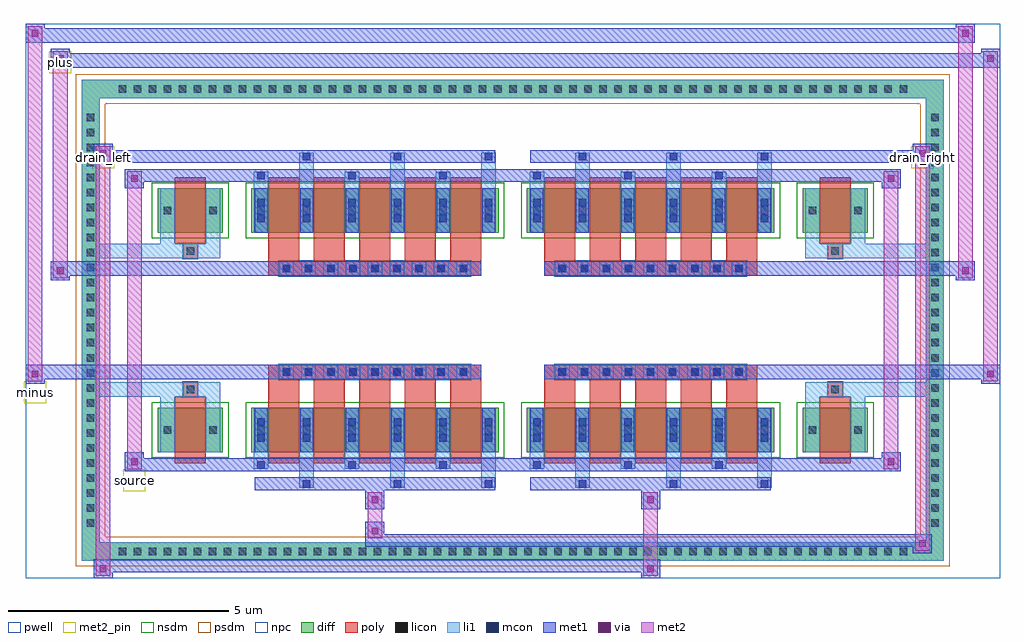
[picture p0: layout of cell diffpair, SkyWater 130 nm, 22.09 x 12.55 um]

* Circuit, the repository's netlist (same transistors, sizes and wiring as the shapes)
* NGSPICE file created from diffpair.ext - technology: sky130A

.subckt diffpair minus drain_right drain_left source plus
X0 drain_left plus source a_n1952_n1088# sky130_fd_pr__nfet_01v8 ad=0.165 pd=1.33 as=0.165 ps=1.33 w=1 l=0.7
X1 source minus drain_right a_n1952_n1088# sky130_fd_pr__nfet_01v8 ad=0.165 pd=1.33 as=0.165 ps=1.33 w=1 l=0.7
X2 a_n1952_n1088# a_n1952_n1088# a_n1952_n1088# a_n1952_n1088# sky130_fd_pr__nfet_01v8 ad=0.39 pd=2.78 as=3.12 ps=22.24 w=1 l=0.7
X3 drain_left plus source a_n1952_n1088# sky130_fd_pr__nfet_01v8 ad=0.165 pd=1.33 as=0.39 ps=2.78 w=1 l=0.7
X4 drain_left plus source a_n1952_n1088# sky130_fd_pr__nfet_01v8 ad=0.39 pd=2.78 as=0.165 ps=1.33 w=1 l=0.7
X5 source minus drain_right a_n1952_n1088# sky130_fd_pr__nfet_01v8 ad=0.165 pd=1.33 as=0.165 ps=1.33 w=1 l=0.7
X6 drain_right minus source a_n1952_n1088# sky130_fd_pr__nfet_01v8 ad=0.39 pd=2.78 as=0.165 ps=1.33 w=1 l=0.7
X7 drain_right minus source a_n1952_n1088# sky130_fd_pr__nfet_01v8 ad=0.39 pd=2.78 as=0.165 ps=1.33 w=1 l=0.7
X8 source minus drain_right a_n1952_n1088# sky130_fd_pr__nfet_01v8 ad=0.165 pd=1.33 as=0.165 ps=1.33 w=1 l=0.7
X9 a_n1952_n1088# a_n1952_n1088# a_n1952_n1088# a_n1952_n1088# sky130_fd_pr__nfet_01v8 ad=0.39 pd=2.78 as=0 ps=0 w=1 l=0.7
X10 drain_right minus source a_n1952_n1088# sky130_fd_pr__nfet_01v8 ad=0.165 pd=1.33 as=0.165 ps=1.33 w=1 l=0.7
X11 drain_right minus source a_n1952_n1088# sky130_fd_pr__nfet_01v8 ad=0.165 pd=1.33 as=0.39 ps=2.78 w=1 l=0.7
X12 source plus drain_left a_n1952_n1088# sky130_fd_pr__nfet_01v8 ad=0.165 pd=1.33 as=0.165 ps=1.33 w=1 l=0.7
X13 drain_right minus source a_n1952_n1088# sky130_fd_pr__nfet_01v8 ad=0.165 pd=1.33 as=0.165 ps=1.33 w=1 l=0.7
X14 drain_left plus source a_n1952_n1088# sky130_fd_pr__nfet_01v8 ad=0.165 pd=1.33 as=0.39 ps=2.78 w=1 l=0.7
X15 source plus drain_left a_n1952_n1088# sky130_fd_pr__nfet_01v8 ad=0.165 pd=1.33 as=0.165 ps=1.33 w=1 l=0.7
X16 a_n1952_n1088# a_n1952_n1088# a_n1952_n1088# a_n1952_n1088# sky130_fd_pr__nfet_01v8 ad=0.39 pd=2.78 as=0 ps=0 w=1 l=0.7
X17 drain_right minus source a_n1952_n1088# sky130_fd_pr__nfet_01v8 ad=0.165 pd=1.33 as=0.39 ps=2.78 w=1 l=0.7
X18 source plus drain_left a_n1952_n1088# sky130_fd_pr__nfet_01v8 ad=0.165 pd=1.33 as=0.165 ps=1.33 w=1 l=0.7
X19 drain_left plus source a_n1952_n1088# sky130_fd_pr__nfet_01v8 ad=0.165 pd=1.33 as=0.165 ps=1.33 w=1 l=0.7
X20 a_n1952_n1088# a_n1952_n1088# a_n1952_n1088# a_n1952_n1088# sky130_fd_pr__nfet_01v8 ad=0.39 pd=2.78 as=0 ps=0 w=1 l=0.7
X21 source minus drain_right a_n1952_n1088# sky130_fd_pr__nfet_01v8 ad=0.165 pd=1.33 as=0.165 ps=1.33 w=1 l=0.7
X22 source plus drain_left a_n1952_n1088# sky130_fd_pr__nfet_01v8 ad=0.165 pd=1.33 as=0.165 ps=1.33 w=1 l=0.7
X23 drain_left plus source a_n1952_n1088# sky130_fd_pr__nfet_01v8 ad=0.39 pd=2.78 as=0.165 ps=1.33 w=1 l=0.7
.ends

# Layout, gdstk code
import gdstk
lib = gdstk.Library(unit=1e-6, precision=5e-09)
def R(c, l, rs):  # rectangles x0, y0, x1, y1
    for r in rs: c.add(gdstk.rectangle(r[:2], r[2:], *l))
def A(c, l, x, y, w, h, nx, ny, dx, dy):  # array of equal rectangles
    R(c, l, [(x+i*dx, y+j*dy, x+i*dx+w, y+j*dy+h) for i in range(nx) for j in range(ny)])
def P(c, l, *ps):  # polygons
    for p in ps: c.add(gdstk.Polygon(p, *l))
pwell = (64, 44)
diff = (65, 20)
poly = (66, 20)
licon = (66, 44)
li1 = (67, 20)
mcon = (67, 44)
met1 = (68, 20)
via = (68, 44)
met2_pin = (69, 16)
met2 = (69, 20)
nsdm = (93, 44)
psdm = (94, 20)
npc = (95, 20)

diffpair = lib.new_cell('diffpair')
R(diffpair, pwell, [(-11.03,-5.84,11.03,6.71), (-8.35,-4.03,-0.01,-0.805), (0.01,-4.03,8.35,-0.805), (-8.35,0.805,-0.01,4.03), (0.01,0.805,8.35,4.03)])
A(diffpair, diff, -9.045, -5.44, 0.41, 0.41, 53, 2, 0.34, 10.47)
A(diffpair, diff, -9.76, -4.795, 0.41, 0.41, 1, 28, 0, 0.34)
A(diffpair, diff, 9.35, -4.795, 0.41, 0.41, 1, 28, 0, 0.34)
R(diffpair, diff, [(-9.045,-5.44,9.045,-5.03), (-9.76,-4.795,-9.35,4.795), (9.35,-4.795,9.76,4.795), (-8.04,-2.985,-6.56,-1.985), (-5.92,-2.985,-0.32,-1.985), (0.32,-2.985,5.92,-1.985), (6.56,-2.985,8.04,-1.985), (-8.04,1.985,-6.56,2.985), (-5.92,1.985,-0.32,2.985), (0.32,1.985,5.92,2.985), (6.56,1.985,8.04,2.985), (-9.045,5.03,9.045,5.44)])
P(diffpair, diff, [(9.76,5.44),(-9.76,5.44),(-9.76,-5.03),(-9.35,-5.03),(-9.35,5.03),(9.35,5.03),(9.35,-5.03),(-9.35,-5.03),(-9.76,-5.03),(-9.76,-5.44),(9.76,-5.44)])
A(diffpair, poly, -5.53, -3.235, 0.7, 1.5, 5, 2, 1.03, 4.97)
A(diffpair, poly, 0.71, -3.235, 0.7, 1.5, 5, 2, 1.03, 4.97)
A(diffpair, poly, -5.53, -1.735, 0.7, 0.4, 5, 2, 1.03, 3.07)
A(diffpair, poly, 0.71, -1.735, 0.7, 0.4, 5, 2, 1.03, 3.07)
A(diffpair, poly, -5.285, -1.335, 0.33, 0.33, 9, 2, 0.5, 2.34)
A(diffpair, poly, 0.955, -1.335, 0.33, 0.33, 9, 2, 0.5, 2.34)
R(diffpair, poly, [(-7.65,-3.235,-6.95,-1.735), (6.95,-3.235,7.65,-1.735), (-7.465,-1.735,-7.135,-1.405), (-7.465,-1.735,-7.135,-1.405), (7.135,-1.735,7.465,-1.405), (7.135,-1.735,7.465,-1.405), (-5.53,-1.335,-0.71,-1.005), (0.71,-1.335,5.53,-1.005), (-5.53,1.005,-0.71,1.335), (0.71,1.005,5.53,1.335), (-7.465,1.405,-7.135,1.735), (-7.465,1.405,-7.135,1.735), (7.135,1.405,7.465,1.735), (7.135,1.405,7.465,1.735), (-7.65,1.735,-6.95,3.235), (6.95,1.735,7.65,3.235)])
A(diffpair, licon, -8.925, -5.32, 0.17, 0.17, 53, 2, 0.34, 10.47)
A(diffpair, licon, -9.64, -4.675, 0.17, 0.17, 1, 28, 0, 0.34)
A(diffpair, licon, 9.47, -4.675, 0.17, 0.17, 1, 28, 0, 0.34)
A(diffpair, licon, -5.78, -2.57, 0.17, 0.17, 6, 2, 1.03, 4.97)
A(diffpair, licon, 0.46, -2.57, 0.17, 0.17, 6, 2, 1.03, 4.97)
A(diffpair, licon, -5.205, -1.255, 0.17, 0.17, 9, 2, 0.5, 2.34)
A(diffpair, licon, 1.035, -1.255, 0.17, 0.17, 9, 2, 0.5, 2.34)
R(diffpair, licon, [(-7.9,-2.57,-7.73,-2.4), (-6.87,-2.57,-6.7,-2.4), (6.7,-2.57,6.87,-2.4), (7.73,-2.57,7.9,-2.4), (-7.385,-1.655,-7.215,-1.485), (7.215,-1.655,7.385,-1.485), (-7.385,1.485,-7.215,1.655), (7.215,1.485,7.385,1.655), (-7.9,2.4,-7.73,2.57), (-6.87,2.4,-6.7,2.57), (6.7,2.4,6.87,2.57), (7.73,2.4,7.9,2.57)])
A(diffpair, li1, -9.005, -5.4, 0.33, 0.33, 53, 2, 0.34, 10.47)
A(diffpair, li1, -9.72, -4.755, 0.33, 0.33, 1, 28, 0, 0.34)
A(diffpair, li1, 9.39, -4.755, 0.33, 0.33, 1, 28, 0, 0.34)
A(diffpair, li1, -4.83, -3.79, 0.33, 0.805, 3, 2, 2.06, 6.775)
A(diffpair, li1, -4.75, -3.79, 0.17, 0.17, 3, 2, 2.06, 7.41)
A(diffpair, li1, 1.41, -3.79, 0.33, 0.805, 3, 2, 2.06, 6.775)
A(diffpair, li1, 1.49, -3.79, 0.17, 0.17, 3, 2, 2.06, 7.41)
A(diffpair, li1, -5.86, -3.36, 0.33, 0.375, 3, 2, 2.06, 6.345)
A(diffpair, li1, -5.78, -3.36, 0.17, 0.17, 3, 2, 2.06, 6.55)
A(diffpair, li1, 0.38, -3.36, 0.33, 0.375, 3, 2, 2.06, 6.345)
A(diffpair, li1, 0.46, -3.36, 0.17, 0.17, 3, 2, 2.06, 6.55)
A(diffpair, li1, -5.86, -2.985, 0.33, 1, 6, 2, 1.03, 4.97)
A(diffpair, li1, 0.38, -2.985, 0.33, 1, 6, 2, 1.03, 4.97)
A(diffpair, li1, -5.78, -2.75, 0.17, 0.17, 6, 2, 1.03, 0.36)
A(diffpair, li1, -5.78, -2.75, 0.17, 0.53, 6, 2, 1.03, 4.97)
A(diffpair, li1, 0.46, -2.75, 0.17, 0.17, 6, 2, 1.03, 0.36)
A(diffpair, li1, 0.46, -2.75, 0.17, 0.53, 6, 2, 1.03, 4.97)
A(diffpair, li1, -5.86, -2.65, 0.33, 0.33, 6, 2, 1.03, 4.97)
A(diffpair, li1, 0.38, -2.65, 0.33, 0.33, 6, 2, 1.03, 4.97)
A(diffpair, li1, -5.285, -1.335, 0.33, 0.33, 9, 2, 0.5, 2.34)
A(diffpair, li1, 0.955, -1.335, 0.33, 0.33, 9, 2, 0.5, 2.34)
A(diffpair, li1, -5.78, 2.22, 0.17, 0.17, 6, 2, 1.03, 0.36)
A(diffpair, li1, 0.46, 2.22, 0.17, 0.17, 6, 2, 1.03, 0.36)
R(diffpair, li1, [(-9.76,-5.44,-9.35,-5.03), (-9.76,-5.44,-9.35,-5.03), (-9.35,-5.44,9.35,-5.03), (9.35,-5.44,9.76,-5.03), (9.35,-5.44,9.76,-5.03), (-9.76,-5.03,-9.35,5.03), (9.35,-5.03,9.76,5.03), (-7.98,-2.985,-7.65,-1.985), (-6.95,-2.985,-6.62,-1.985), (6.62,-2.985,6.95,-1.985), (7.65,-2.985,7.98,-1.985), (-7.98,-2.65,-7.65,-2.32), (-6.95,-2.65,-6.62,-2.32), (6.62,-2.65,6.95,-2.32), (7.65,-2.65,7.98,-2.32), (-7.98,-1.985,-7.65,-1.405), (-6.95,-1.985,-6.62,-1.405), (6.62,-1.985,6.95,-1.405), (7.65,-1.985,7.98,-1.405), (-9.76,-1.735,-7.465,-1.405), (-7.98,-1.735,-7.465,-1.405), (-7.465,-1.735,-7.135,-1.405), (-7.135,-1.735,-6.62,-1.405), (6.62,-1.735,7.135,-1.405), (7.135,-1.735,7.465,-1.405), (7.135,-1.735,9.76,-1.405), (7.465,-1.735,7.98,-1.405), (-9.76,1.405,-7.465,1.735), (-7.98,1.405,-7.465,1.735), (-7.98,1.405,-7.65,1.985), (-7.465,1.405,-7.135,1.735), (-7.135,1.405,-6.62,1.735), (-6.95,1.405,-6.62,1.985), (6.62,1.405,7.135,1.735), (6.62,1.405,6.95,1.985), (7.135,1.405,7.465,1.735), (7.135,1.405,9.76,1.735), (7.465,1.405,7.98,1.735), (7.65,1.405,7.98,1.985), (-7.98,1.985,-7.65,2.985), (-6.95,1.985,-6.62,2.985), (6.62,1.985,6.95,2.985), (7.65,1.985,7.98,2.985), (-7.98,2.32,-7.65,2.65), (-6.95,2.32,-6.62,2.65), (6.62,2.32,6.95,2.65), (7.65,2.32,7.98,2.65), (-9.76,5.03,-9.35,5.44), (-9.76,5.03,-9.35,5.44), (-9.35,5.03,9.35,5.44), (9.35,5.03,9.76,5.44), (9.35,5.03,9.76,5.44)])
A(diffpair, mcon, -4.75, -3.79, 0.17, 0.17, 3, 2, 2.06, 7.41)
A(diffpair, mcon, 1.49, -3.79, 0.17, 0.17, 3, 2, 2.06, 7.41)
A(diffpair, mcon, -5.78, -3.36, 0.17, 0.17, 3, 2, 2.06, 6.55)
A(diffpair, mcon, 0.46, -3.36, 0.17, 0.17, 3, 2, 2.06, 6.55)
A(diffpair, mcon, -5.78, -2.75, 0.17, 0.17, 6, 2, 1.03, 0.36)
A(diffpair, mcon, 0.46, -2.75, 0.17, 0.17, 6, 2, 1.03, 0.36)
A(diffpair, mcon, -5.205, -1.255, 0.17, 0.17, 9, 2, 0.5, 2.34)
A(diffpair, mcon, 1.035, -1.255, 0.17, 0.17, 9, 2, 0.5, 2.34)
A(diffpair, mcon, -5.78, 2.22, 0.17, 0.17, 6, 2, 1.03, 0.36)
A(diffpair, mcon, 0.46, 2.22, 0.17, 0.17, 6, 2, 1.03, 0.36)
A(diffpair, met1, -4.81, -3.85, 0.29, 0.29, 3, 2, 2.06, 7.41)
A(diffpair, met1, 1.43, -3.85, 0.29, 0.29, 3, 2, 2.06, 7.41)
A(diffpair, met1, -5.84, -3.42, 0.29, 0.29, 3, 2, 2.06, 6.55)
A(diffpair, met1, 0.4, -3.42, 0.29, 0.29, 3, 2, 2.06, 6.55)
A(diffpair, met1, -5.84, -2.985, 0.29, 1, 6, 2, 1.03, 4.97)
A(diffpair, met1, 0.4, -2.985, 0.29, 1, 6, 2, 1.03, 4.97)
A(diffpair, met1, -5.84, -2.81, 0.29, 0.29, 6, 2, 1.03, 0.36)
A(diffpair, met1, 0.4, -2.81, 0.29, 0.29, 6, 2, 1.03, 0.36)
A(diffpair, met1, -5.265, -1.315, 0.29, 0.29, 9, 2, 0.5, 2.34)
A(diffpair, met1, 0.975, -1.315, 0.29, 0.29, 9, 2, 0.5, 2.34)
A(diffpair, met1, -5.84, 2.16, 0.29, 0.29, 6, 2, 1.03, 0.36)
A(diffpair, met1, 0.4, 2.16, 0.29, 0.29, 6, 2, 1.03, 0.36)
R(diffpair, met1, [(-9.49,-5.84,-9.06,-5.41), (2.905,-5.84,3.335,-5.41), (-9.49,-5.7,3.335,-5.41), (9.06,-5.27,9.49,-4.84), (-3.335,-5.13,9.49,-4.84), (-3.335,-4.99,-2.905,-4.56), (-3.335,-4.28,-2.905,-3.85), (2.905,-4.28,3.335,-3.85), (-5.84,-3.85,-0.4,-3.56), (0.4,-3.85,5.84,-3.56), (-8.78,-3.42,-8.35,-2.99), (-8.78,-3.42,-5.84,-3.13), (-5.84,-3.42,-0.4,-3.13), (-0.4,-3.42,0.4,-3.13), (0.4,-3.42,5.84,-3.13), (5.84,-3.42,8.78,-3.13), (8.35,-3.42,8.78,-2.99), (-11.03,-1.435,-10.6,-1.005), (10.6,-1.435,11.03,-1.005), (-11.03,-1.335,-0.71,-1.005), (-5.53,-1.335,-0.71,-1.005), (0.71,-1.335,5.53,-1.005), (0.71,-1.335,11.03,-1.005), (-10.46,0.905,-10.03,1.335), (10.03,0.905,10.46,1.335), (-10.46,1.005,-5.53,1.335), (-5.53,1.005,-0.71,1.335), (0.71,1.005,5.53,1.335), (5.53,1.005,10.46,1.335), (-8.78,2.99,-8.35,3.42), (8.35,2.99,8.78,3.42), (-8.78,3.13,-5.84,3.42), (-5.84,3.13,-0.4,3.42), (-0.4,3.13,0.4,3.42), (0.4,3.13,5.84,3.42), (5.84,3.13,8.78,3.42), (-9.49,3.56,-9.06,3.99), (-9.49,3.56,-5.84,3.85), (-5.84,3.56,-0.4,3.85), (0.4,3.56,5.84,3.85), (5.84,3.56,9.49,3.85), (9.06,3.56,9.49,3.99), (-10.46,5.71,-10.03,6.14), (-10.46,5.71,-8.35,6.04), (-8.35,5.71,8.35,6.04), (8.35,5.71,11.03,6.04), (10.6,5.71,11.03,6.14), (-11.03,6.28,-10.6,6.71), (-11.03,6.28,-8.35,6.61), (-8.35,6.28,8.35,6.61), (8.35,6.28,10.46,6.61), (10.03,6.28,10.46,6.71)])
R(diffpair, via, [(-9.35,-5.7,-9.2,-5.55), (3.045,-5.7,3.195,-5.55), (9.2,-5.13,9.35,-4.98), (-3.195,-4.85,-3.045,-4.7), (-3.195,-4.14,-3.045,-3.99), (3.045,-4.14,3.195,-3.99), (-8.64,-3.28,-8.49,-3.13), (8.49,-3.28,8.64,-3.13), (-10.89,-1.295,-10.74,-1.145), (10.74,-1.295,10.89,-1.145), (-10.32,1.045,-10.17,1.195), (10.17,1.045,10.32,1.195), (-8.64,3.13,-8.49,3.28), (8.49,3.13,8.64,3.28), (-9.35,3.7,-9.2,3.85), (9.2,3.7,9.35,3.85), (-10.32,5.85,-10.17,6), (10.74,5.85,10.89,6), (-10.89,6.42,-10.74,6.57), (10.17,6.42,10.32,6.57)])
R(diffpair, met2_pin, [(-8.815,-3.87,-8.315,-3.37), (-11.065,-1.885,-10.565,-1.385), (-9.525,3.44,-9.025,3.94), (9.025,3.44,9.525,3.94), (-10.495,5.59,-9.995,6.09)])
R(diffpair, met2, [(-9.44,-5.79,-9.11,-5.46), (-9.44,-5.79,-9.11,3.94), (2.955,-5.79,3.285,-5.46), (2.955,-5.46,3.285,-4.23), (9.11,-5.22,9.44,-4.89), (9.11,-5.22,9.44,3.94), (-3.285,-4.94,-2.955,-4.61), (-3.285,-4.61,-2.955,-4.23), (-3.285,-4.23,-2.955,-3.9), (2.955,-4.23,3.285,-3.9), (-8.73,-3.37,-8.4,-3.04), (-8.73,-3.37,-8.4,3.37), (8.4,-3.37,8.73,-3.04), (8.4,-3.37,8.73,3.37), (-10.98,-1.385,-10.65,-1.055), (-10.98,-1.385,-10.65,6.66), (10.65,-1.385,10.98,-1.055), (10.65,-1.385,10.98,6.09), (-10.41,0.955,-10.08,1.285), (-10.41,0.955,-10.08,6.09), (10.08,0.955,10.41,1.285), (10.08,0.955,10.41,6.66), (-8.73,3.04,-8.4,3.37), (8.4,3.04,8.73,3.37), (-9.44,3.61,-9.11,3.94), (9.11,3.61,9.44,3.94), (-10.41,5.76,-10.08,6.09), (10.65,5.76,10.98,6.09), (-10.98,6.33,-10.65,6.66), (10.08,6.33,10.41,6.66)])
P(diffpair, met2, [(10.98,-1.385),(10.98,-1.385),(10.98,-1.055),(10.98,-1.055)],
  [(10.98,5.76),(10.98,5.76),(10.98,6.09),(10.98,6.09)],
  [(-10.65,-1.385),(-10.65,-1.385),(-10.65,-1.055),(-10.65,-1.055)],
  [(-10.65,6.33),(-10.65,6.33),(-10.65,6.66),(-10.65,6.66)],
  [(10.41,0.955),(10.41,0.955),(10.41,1.285),(10.41,1.285)],
  [(10.41,6.33),(10.41,6.33),(10.41,6.66),(10.41,6.66)],
  [(-10.08,0.955),(-10.08,0.955),(-10.08,1.285),(-10.08,1.285)],
  [(-10.08,5.76),(-10.08,5.76),(-10.08,6.09),(-10.08,6.09)],
  [(-9.11,-5.79),(-9.11,-5.79),(-9.11,-5.46),(-9.11,-5.46)],
  [(-9.11,3.61),(-9.11,3.61),(-9.11,3.94),(-9.11,3.94)],
  [(9.44,-5.22),(9.44,-5.22),(9.44,-4.89),(9.44,-4.89)],
  [(9.44,3.61),(9.44,3.61),(9.44,3.94),(9.44,3.94)],
  [(-8.4,-3.37),(-8.4,-3.37),(-8.4,-3.04),(-8.4,-3.04)],
  [(-8.4,3.04),(-8.4,3.04),(-8.4,3.37),(-8.4,3.37)],
  [(8.73,-3.37),(8.73,-3.37),(8.73,-3.04),(8.73,-3.04)],
  [(8.73,3.04),(8.73,3.04),(8.73,3.37),(8.73,3.37)])
R(diffpair, nsdm, [(-8.17,-3.115,-6.43,-1.855), (-6.05,-3.115,-0.19,-1.855), (0.19,-3.115,6.05,-1.855), (6.43,-3.115,8.17,-1.855), (-8.17,1.855,-6.43,3.115), (-6.05,1.855,-0.19,3.115), (0.19,1.855,6.05,3.115), (6.43,1.855,8.17,3.115)])
P(diffpair, psdm, [(9.89,5.57),(-9.89,5.57),(-9.89,-4.9),(-9.22,-4.9),(-9.22,4.9),(9.22,4.9),(9.22,-4.9),(-9.22,-4.9),(-9.89,-4.9),(-9.89,-5.57),(9.89,-5.57)])
A(diffpair, npc, -5.305, -1.355, 0.37, 0.37, 9, 2, 0.5, 2.34)
A(diffpair, npc, 0.935, -1.355, 0.37, 0.37, 9, 2, 0.5, 2.34)
R(diffpair, npc, [(-7.485,-1.755,-7.115,-1.385), (7.115,-1.755,7.485,-1.385), (-5.305,-1.355,-4.435,-0.985), (-5.305,-1.355,-4.435,-0.985), (-4.805,-1.355,-3.935,-0.985), (-4.805,-1.355,-3.935,-0.985), (-4.305,-1.355,-3.435,-0.985), (-4.305,-1.355,-3.435,-0.985), (-3.805,-1.355,-2.935,-0.985), (-3.805,-1.355,-2.935,-0.985), (-3.305,-1.355,-2.435,-0.985), (-3.305,-1.355,-2.435,-0.985), (-2.805,-1.355,-1.935,-0.985), (-2.805,-1.355,-1.935,-0.985), (-2.305,-1.355,-1.435,-0.985), (-2.305,-1.355,-1.435,-0.985), (-1.805,-1.355,-0.935,-0.985), (-1.805,-1.355,-0.935,-0.985), (0.935,-1.355,1.805,-0.985), (0.935,-1.355,1.805,-0.985), (1.435,-1.355,2.305,-0.985), (1.435,-1.355,2.305,-0.985), (1.935,-1.355,2.805,-0.985), (1.935,-1.355,2.805,-0.985), (2.435,-1.355,3.305,-0.985), (2.435,-1.355,3.305,-0.985), (2.935,-1.355,3.805,-0.985), (2.935,-1.355,3.805,-0.985), (3.435,-1.355,4.305,-0.985), (3.435,-1.355,4.305,-0.985), (3.935,-1.355,4.805,-0.985), (3.935,-1.355,4.805,-0.985), (4.435,-1.355,5.305,-0.985), (4.435,-1.355,5.305,-0.985), (-5.305,0.985,-4.435,1.355), (-5.305,0.985,-4.435,1.355), (-4.805,0.985,-3.935,1.355), (-4.805,0.985,-3.935,1.355), (-4.305,0.985,-3.435,1.355), (-4.305,0.985,-3.435,1.355), (-3.805,0.985,-2.935,1.355), (-3.805,0.985,-2.935,1.355), (-3.305,0.985,-2.435,1.355), (-3.305,0.985,-2.435,1.355), (-2.805,0.985,-1.935,1.355), (-2.805,0.985,-1.935,1.355), (-2.305,0.985,-1.435,1.355), (-2.305,0.985,-1.435,1.355), (-1.805,0.985,-0.935,1.355), (-1.805,0.985,-0.935,1.355), (0.935,0.985,1.805,1.355), (0.935,0.985,1.805,1.355), (1.435,0.985,2.305,1.355), (1.435,0.985,2.305,1.355), (1.935,0.985,2.805,1.355), (1.935,0.985,2.805,1.355), (2.435,0.985,3.305,1.355), (2.435,0.985,3.305,1.355), (2.935,0.985,3.805,1.355), (2.935,0.985,3.805,1.355), (3.435,0.985,4.305,1.355), (3.435,0.985,4.305,1.355), (3.935,0.985,4.805,1.355), (3.935,0.985,4.805,1.355), (4.435,0.985,5.305,1.355), (4.435,0.985,5.305,1.355), (-7.485,1.385,-7.115,1.755), (7.115,1.385,7.485,1.755)])
diffpair.add(gdstk.Label('minus', (-10.815,-1.635), layer=69, texttype=5))
diffpair.add(gdstk.Label('drain_right', (9.275,3.69), layer=69, texttype=5))
diffpair.add(gdstk.Label('drain_left', (-9.275,3.69), layer=69, texttype=5))
diffpair.add(gdstk.Label('source', (-8.565,-3.62), layer=69, texttype=5))
diffpair.add(gdstk.Label('plus', (-10.245,5.84), layer=69, texttype=5))

lib.write_gds('diffpair.gds')
